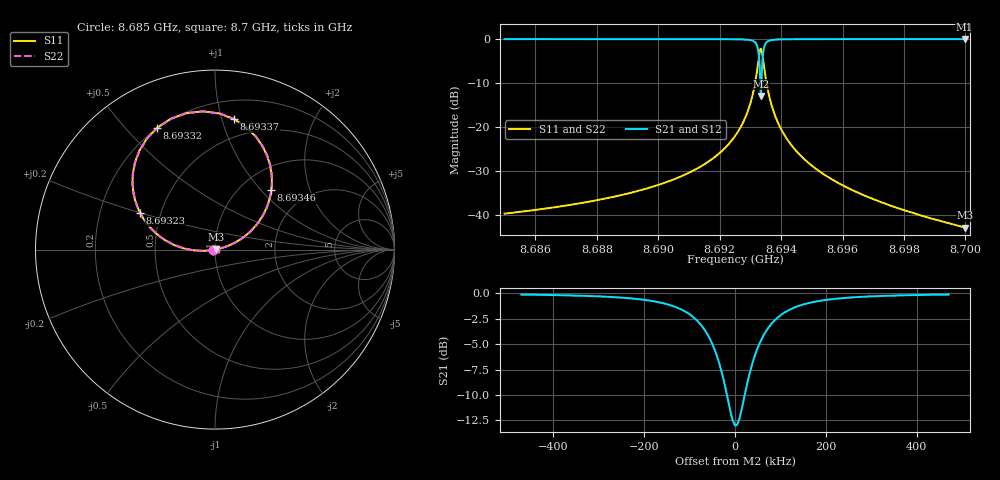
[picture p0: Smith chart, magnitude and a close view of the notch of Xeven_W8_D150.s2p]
! Sonnet Data File
! From: emgraph Version : 16.52
! From Project: Qubit_Xmon2_brg_para
! Data is De-embedded
! Data File Written: 10/25/2017 13:37:34
!< HDATE 10/25/2017 09:37:53
!< MDATE 10/25/2017 09:40:21
!< PARAMS
!< Lj = 11.0
!< Gap = 6.0
!< Pwid = 2000.0
!< Airgap = 6.0
!< Width = 10.0
!< Bwid = 8.0
!< Dis1 = 150.0
!< Dis2 = 156.0
!< END PARAMS
# GHZ S MA R 51.80000
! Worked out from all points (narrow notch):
!   3001 points, 8.685 GHz to 8.7 GHz, reference 51.8 ohm
!   highest |S21| = 0.00 dB at 8.69998 GHz (marker M1); lowest = -13.0 dB at 8.69334 GHz (marker M2)
!   notch at M2: 13.0 dB deep, 78.4 kHz wide at half that depth
!   lowest |S11| = -43.0 dB at 8.7 GHz (marker M3), VSWR 1.01, Z = 52.5 + j0.15 ohm
!   |S11| at or under -10 dB: start of sweep to 8.693155 GHz; 8.693526 GHz to end of sweep
!   |S22| runs from -43.0 to -2.2 dB; largest |S21 - S12| = 0
!   S11 on the Smith chart (normalised r, x): 8.685 GHz: 0.98, -0.00; 8.69323 GHz: 0.38, +0.20; 8.69332 GHz: 0.20, +0.61; 8.69337 GHz: 0.35, +1.09; 8.69346 GHz: 1.36, +1.14; 8.7 GHz: 1.01, +0.00
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8.685  0.01023 -170.4  0.9999 -80.0  0.9999 -80.0  0.01023 -169.9
!< P1 F=8.685 Eeff=(6.44683879 -2.9786e-5) Z0=(51.7993663 1.19075e-4) R=0.0 C=0.0
!< P2 F=8.685 Eeff=(6.44683879 -2.9786e-5) Z0=(51.7993663 1.19075e-4) R=0.0 C=0.0
8.6875  0.01353 -170.6  0.9999 -80.2  0.9999 -80.2  0.01353 -170.2
8.69  0.02174 -171.1  0.9997 -80.7  0.9997 -80.7  0.02174 -170.9
8.69153  0.03791 -172.2  0.9989 -81.7  0.9989 -81.7  0.03791 -172.2
8.6925  0.07837 -175.2  0.9953 -84.0  0.9953 -84.0  0.07836 -175.3
8.69283  0.1262 -178.7  0.9876 -86.8  0.9876 -86.8  0.1262 -178.8
8.693065  0.2244 173.8  0.9599 -92.5  0.9599 -92.5  0.2244 173.7
8.693165  0.3308 165.4  0.9103 -98.7  0.9103 -98.7  0.3308 165.3
8.69323  0.4631 154.1  0.8146 -106.7  0.8146 -106.7  0.4631 153.9
8.693275  0.6049 139.5  0.6521 -115.2  0.6521 -115.2  0.6049 139.4
8.69332  0.7514 115.4  0.3344 -114.6  0.3344 -114.6  0.7514 115.2
8.69334  0.7768 101.9  0.2241 -84.0  0.2241 -84.0  0.7768 101.7
8.69337  0.7351 81.7  0.3858 -41.6  0.3858 -41.6  0.7351 81.6
8.693455  0.4564 46.6  0.8192 -52.8  0.8192 -52.8  0.4564 46.4
8.69352  0.3247 35.4  0.9128 -60.7  0.9128 -60.7  0.3247 35.2
8.693605  0.2303 27.9  0.957 -66.2  0.957 -66.2  0.2303 27.7
8.693955  0.1012 18.2  0.9918 -73.7  0.9918 -73.7  0.1012 17.9
8.694395  0.0582 15.0  0.9972 -76.2  0.9972 -76.2  0.0582 14.7
8.695  0.0361 13.4  0.9989 -77.5  0.9989 -77.5  0.0361 13.0
8.6975  0.01288 11.9  0.9998 -78.8  0.9998 -78.8  0.01288 11.1
8.699975  0.007123 11.7  0.9999 -79.2  0.9999 -79.2  0.007123 10.5
8.7  0.007087 11.7  0.9999 -79.2  0.9999 -79.2  0.007087 10.5
